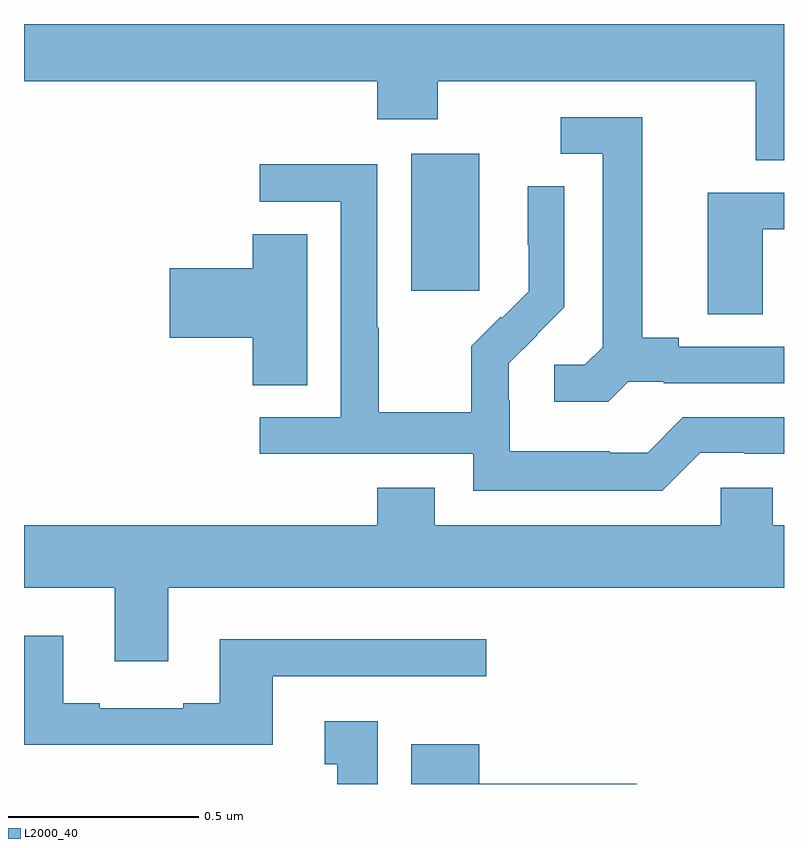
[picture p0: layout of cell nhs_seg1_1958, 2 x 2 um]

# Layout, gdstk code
import gdstk
lib = gdstk.Library(unit=1e-6, precision=1e-09)
def R(c, l, rs):  # rectangles x0, y0, x1, y1
    for r in rs: c.add(gdstk.rectangle(r[:2], r[2:], *l))
def P(c, l, *ps):  # polygons
    for p in ps: c.add(gdstk.Polygon(p, *l))
L2000_40 = (2000, 40)

nhs_seg1_1958 = lib.new_cell('nhs_seg1_1958')
R(nhs_seg1_1958, L2000_40, [(136.019,568.497,136.198,568.858)])
P(nhs_seg1_1958, L2000_40, [(137,569.199),(135,569.199),(135,569.048),(135.929,569.048),(135.929,568.949),(136.089,568.949),(136.089,569.048),(136.925,569.048),(136.925,568.84),(137,568.84)],
  [(136.59,568.257),(136.684,568.257),(136.684,568.254),(137,568.254),(137,568.35),(136.723,568.35),(136.723,568.373),(136.627,568.373),(136.627,568.953),(136.413,568.953),(136.413,568.857),(136.523,568.857),(136.523,568.349),(136.476,568.302),(136.395,568.302),(136.395,568.205),(136.538,568.205)],
  [(136.779,568.071),(136.895,568.071),(136.895,568.068),(137,568.068),(137,568.164),(136.734,568.164),(136.641,568.071),(136.541,568.071),(136.541,568.075),(136.278,568.075),(136.278,568.209),(136.276,568.209),(136.276,568.306),(136.35,568.38),(136.349,568.381),(136.422,568.454),(136.422,568.772),(136.326,568.772),(136.326,568.618),(136.328,568.618),(136.328,568.496),(136.257,568.425),(136.254,568.428),(136.177,568.351),(136.177,568.177),(135.933,568.177),(135.933,568.4),(135.93,568.4),(135.93,568.83),(135.621,568.83),(135.621,568.731),(135.834,568.731),(135.834,568.164),(135.621,568.164),(135.621,568.068),(136.182,568.068),(136.182,567.971),(136.679,567.971)],
  [(136.944,568.659),(137,568.659),(137,568.755),(136.799,568.755),(136.799,568.435),(136.944,568.435)],
  [(135.745,568.646),(135.602,568.646),(135.602,568.556),(135.384,568.556),(135.384,568.373),(135.602,568.373),(135.602,568.249),(135.745,568.249)],
  [(135.379,567.716),(137,567.716),(137,567.88),(136.971,567.88),(136.971,567.978),(136.833,567.978),(136.833,567.88),(136.081,567.88),(136.081,567.979),(135.929,567.979),(135.929,567.88),(135,567.88),(135,567.716),(135.239,567.716),(135.239,567.522),(135.379,567.522)],
  [(135.655,567.483),(136.216,567.483),(136.216,567.58),(135.515,567.58),(135.515,567.412),(135.419,567.412),(135.419,567.399),(135.199,567.399),(135.199,567.412),(135.103,567.412),(135.103,567.589),(135,567.589),(135,567.302),(135.655,567.302)],
  [(135.931,567.364),(135.791,567.364),(135.791,567.251),(135.824,567.251),(135.824,567.199),(135.931,567.199)],
  [(136.612,567.2),(136.198,567.2),(136.198,567.304),(136.019,567.304),(136.019,567.199),(136.612,567.199)])

lib.write_gds('nhs_seg1_1958.gds')
